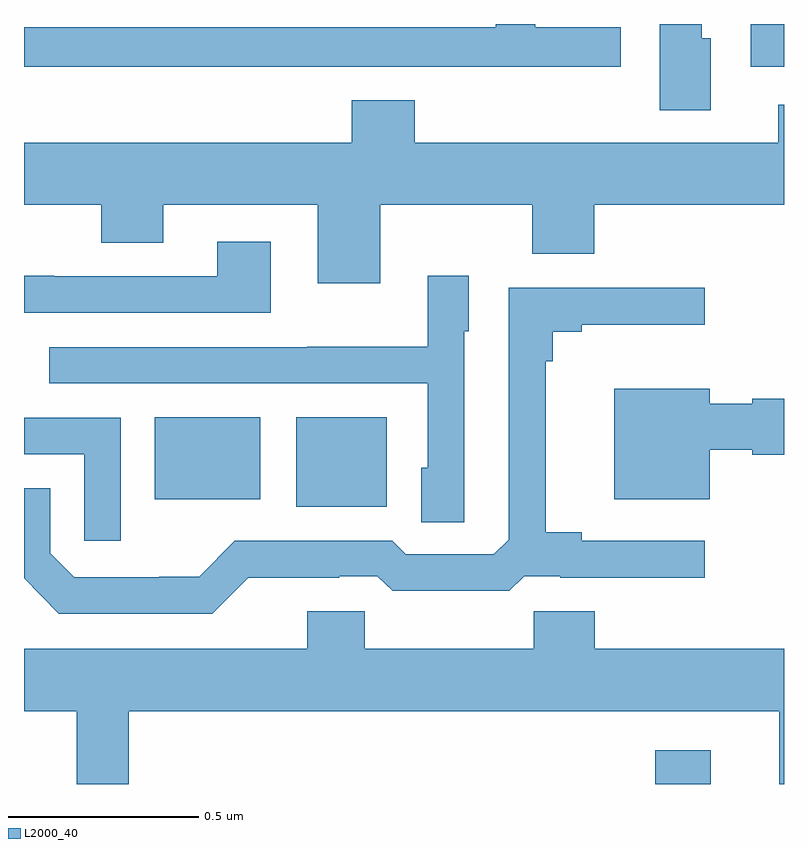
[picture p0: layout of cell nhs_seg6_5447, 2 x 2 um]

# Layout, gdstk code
import gdstk
lib = gdstk.Library(unit=1e-6, precision=1e-09)
def R(c, l, rs):  # rectangles x0, y0, x1, y1
    for r in rs: c.add(gdstk.rectangle(r[:2], r[2:], *l))
def P(c, l, *ps):  # polygons
    for p in ps: c.add(gdstk.Polygon(p, *l))
L2000_40 = (2000, 40)

nhs_seg6_5447 = lib.new_cell('nhs_seg6_5447')
R(nhs_seg6_5447, L2000_40, [(184.661,924.5,184.807,924.589), (183.716,925.229,183.955,925.465), (183.344,925.25,183.622,925.465), (184.913,926.387,185,926.5)])
P(nhs_seg6_5447, L2000_40, [(184.57,926.491),(184.345,926.491),(184.345,926.5),(184.241,926.5),(184.241,926.491),(183,926.491),(183,926.387),(184.57,926.387)],
  [(184.807,926.463),(184.783,926.463),(184.783,926.5),(184.673,926.5),(184.673,926.273),(184.807,926.273)],
  [(183.937,926.024),(184.337,926.024),(184.337,925.896),(184.501,925.896),(184.501,926.024),(185,926.024),(185,926.287),(184.985,926.287),(184.985,926.188),(184.028,926.188),(184.028,926.299),(183.863,926.299),(183.863,926.188),(183,926.188),(183,926.024),(183.203,926.024),(183.203,925.925),(183.367,925.925),(183.367,926.024),(183.773,926.024),(183.773,925.818),(183.937,925.818)],
  [(183.649,925.927),(183.509,925.927),(183.509,925.836),(183.079,925.836),(183.079,925.838),(183,925.838),(183,925.74),(183.649,925.74)],
  [(184.158,925.692),(184.171,925.692),(184.171,925.837),(184.062,925.837),(184.062,925.651),(183.745,925.651),(183.745,925.65),(183.067,925.65),(183.067,925.554),(184.062,925.554),(184.062,925.332),(184.046,925.332),(184.046,925.189),(184.158,925.189)],
  [(183.59,925.043),(183.83,925.043),(183.83,925.047),(183.93,925.047),(183.97,925.008),(184.277,925.008),(184.317,925.047),(184.411,925.047),(184.411,925.043),(184.792,925.043),(184.792,925.14),(184.468,925.14),(184.468,925.163),(184.373,925.163),(184.373,925.613),(184.391,925.613),(184.391,925.69),(184.468,925.69),(184.468,925.709),(184.792,925.709),(184.792,925.806),(184.275,925.806),(184.275,925.143),(184.236,925.104),(184.005,925.104),(183.969,925.14),(183.555,925.14),(183.461,925.046),(183.356,925.046),(183.356,925.044),(183.132,925.044),(183.069,925.107),(183.069,925.278),(183,925.278),(183,925.041),(183.092,924.948),(183.495,924.948)],
  [(184.804,925.379),(184.917,925.379),(184.917,925.367),(185,925.367),(185,925.514),(184.917,925.514),(184.917,925.501),(184.804,925.501),(184.804,925.54),(184.553,925.54),(184.553,925.25),(184.804,925.25)],
  [(183.255,925.464),(183,925.464),(183,925.368),(183.159,925.368),(183.159,925.14),(183.255,925.14)],
  [(183.275,924.692),(184.988,924.692),(184.988,924.5),(185,924.5),(185,924.856),(184.502,924.856),(184.502,924.954),(184.342,924.954),(184.342,924.856),(183.897,924.856),(183.897,924.954),(183.746,924.954),(183.746,924.856),(183,924.856),(183,924.692),(183.139,924.692),(183.139,924.5),(183.275,924.5)])

lib.write_gds('nhs_seg6_5447.gds')
